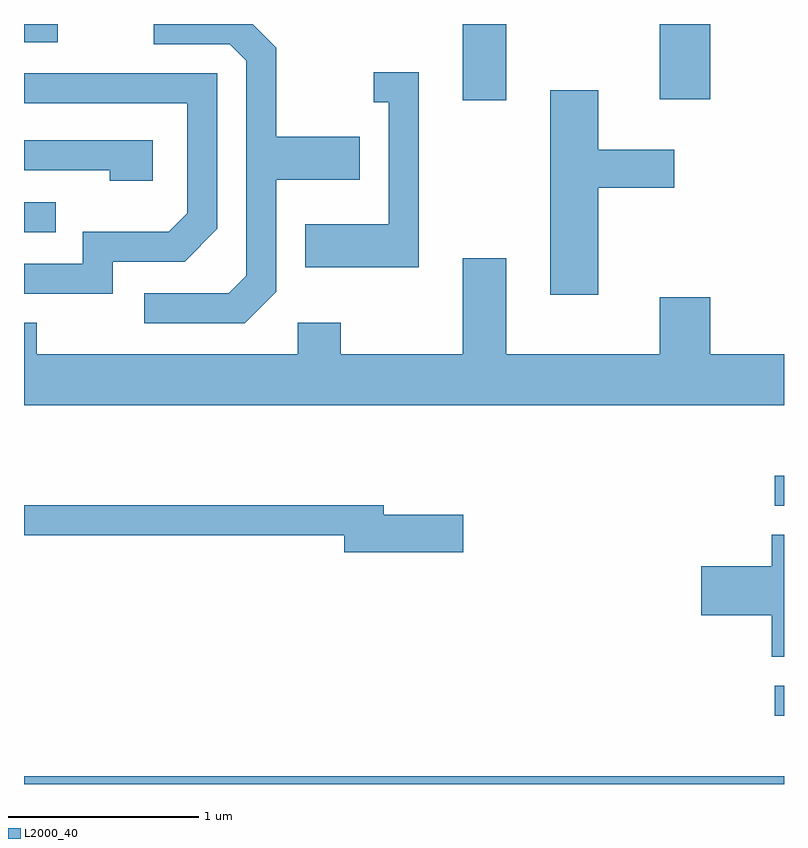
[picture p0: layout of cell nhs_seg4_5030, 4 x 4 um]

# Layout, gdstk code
import gdstk
lib = gdstk.Library(unit=1e-6, precision=1e-09)
def R(c, l, rs):  # rectangles x0, y0, x1, y1
    for r in rs: c.add(gdstk.rectangle(r[:2], r[2:], *l))
def P(c, l, *ps):  # polygons
    for p in ps: c.add(gdstk.Polygon(p, *l))
L2000_40 = (2000, 40)

nhs_seg4_5030 = lib.new_cell('nhs_seg4_5030')
R(nhs_seg4_5030, L2000_40, [(331.611,1385.982,335.611,1386.024), (335.563,1386.341,335.611,1386.499), (335.563,1387.446,335.611,1387.604), (331.611,1388.886,331.778,1389.044), (333.921,1389.581,334.149,1389.982), (334.956,1389.586,335.224,1389.982), (331.611,1389.886,331.789,1389.982)])
P(nhs_seg4_5030, L2000_40, [(332.939,1388.574),(332.939,1389.161),(333.379,1389.161),(333.379,1389.389),(332.939,1389.389),(332.939,1389.857),(332.814,1389.982),(332.293,1389.982),(332.293,1389.876),(332.694,1389.876),(332.781,1389.789),(332.781,1388.657),(332.689,1388.564),(332.243,1388.564),(332.243,1388.406),(332.772,1388.406)],
  [(333.689,1389.729),(333.453,1389.729),(333.453,1389.571),(333.531,1389.571),(333.531,1388.929),(333.091,1388.929),(333.091,1388.701),(333.689,1388.701)],
  [(332.079,1388.731),(332.457,1388.731),(332.629,1388.904),(332.629,1389.724),(331.611,1389.724),(331.611,1389.566),(332.471,1389.566),(332.471,1388.987),(332.374,1388.889),(331.921,1388.889),(331.921,1388.719),(331.611,1388.719),(331.611,1388.561),(332.079,1388.561)],
  [(334.634,1389.121),(335.034,1389.121),(335.034,1389.319),(334.634,1389.319),(334.634,1389.634),(334.381,1389.634),(334.381,1388.556),(334.634,1388.556)],
  [(332.289,1389.369),(331.611,1389.369),(331.611,1389.211),(332.061,1389.211),(332.061,1389.156),(332.289,1389.156)],
  [(335.611,1388.244),(335.224,1388.244),(335.224,1388.544),(334.956,1388.544),(334.956,1388.244),(334.149,1388.244),(334.149,1388.749),(333.921,1388.749),(333.921,1388.244),(333.279,1388.244),(333.279,1388.409),(333.051,1388.409),(333.051,1388.244),(331.679,1388.244),(331.679,1388.409),(331.611,1388.409),(331.611,1387.976),(335.611,1387.976)],
  [(333.924,1387.399),(333.504,1387.399),(333.504,1387.449),(331.611,1387.449),(331.611,1387.291),(333.296,1387.291),(333.296,1387.201),(333.924,1387.201)],
  [(335.611,1387.294),(335.546,1387.294),(335.546,1387.129),(335.176,1387.129),(335.176,1386.871),(335.546,1386.871),(335.546,1386.651),(335.611,1386.651)])

lib.write_gds('nhs_seg4_5030.gds')
